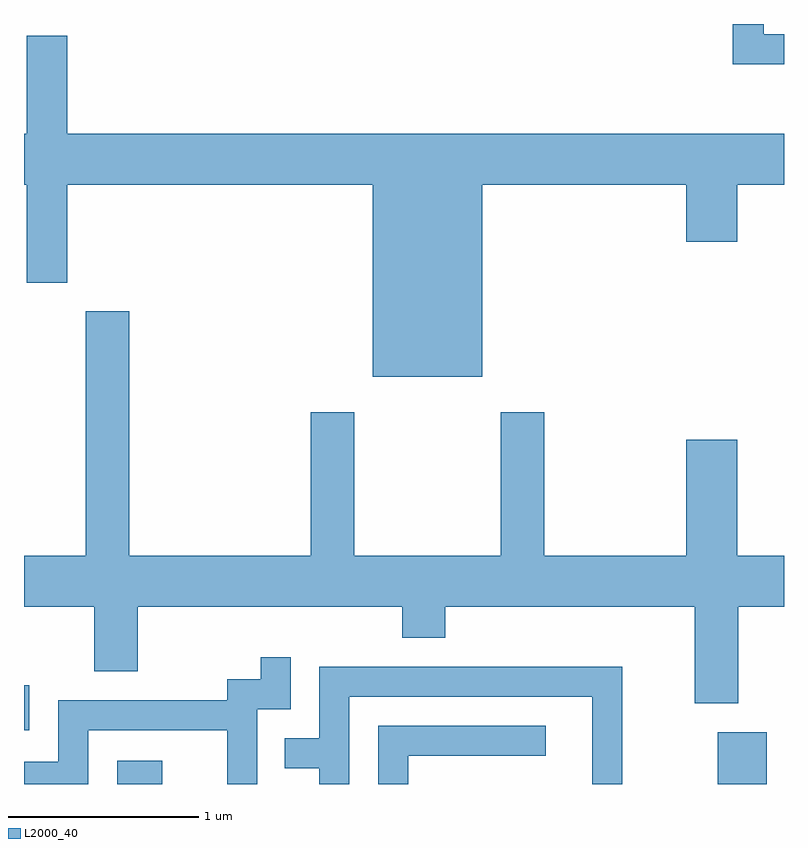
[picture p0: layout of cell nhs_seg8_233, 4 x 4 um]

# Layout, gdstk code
import gdstk
lib = gdstk.Library(unit=1e-6, precision=1e-09)
def R(c, l, rs):  # rectangles x0, y0, x1, y1
    for r in rs: c.add(gdstk.rectangle(r[:2], r[2:], *l))
def P(c, l, *ps):  # polygons
    for p in ps: c.add(gdstk.Polygon(p, *l))
L2000_40 = (2000, 40)

nhs_seg8_233 = lib.new_cell('nhs_seg8_233')
R(nhs_seg8_233, L2000_40, [(192.101,1864.342,192.338,1864.464), (195.261,1864.342,195.519,1864.614), (191.611,1864.626,191.639,1864.863)])
P(nhs_seg8_233, L2000_40, [(195.611,1868.289),(195.504,1868.289),(195.504,1868.342),(195.341,1868.342),(195.341,1868.131),(195.611,1868.131)],
  [(194.024,1867.496),(195.096,1867.496),(195.096,1867.196),(195.364,1867.196),(195.364,1867.496),(195.611,1867.496),(195.611,1867.764),(191.839,1867.764),(191.839,1868.279),(191.626,1868.279),(191.626,1867.764),(191.611,1867.764),(191.611,1867.496),(191.626,1867.496),(191.626,1866.981),(191.839,1866.981),(191.839,1867.496),(193.446,1867.496),(193.446,1866.486),(194.024,1866.486)],
  [(195.369,1865.276),(195.611,1865.276),(195.611,1865.544),(195.364,1865.544),(195.364,1866.154),(195.096,1866.154),(195.096,1865.544),(194.349,1865.544),(194.349,1866.299),(194.121,1866.299),(194.121,1865.544),(193.349,1865.544),(193.349,1866.299),(193.121,1866.299),(193.121,1865.544),(192.164,1865.544),(192.164,1866.829),(191.936,1866.829),(191.936,1865.544),(191.611,1865.544),(191.611,1865.276),(191.981,1865.276),(191.981,1864.936),(192.209,1864.936),(192.209,1865.276),(193.601,1865.276),(193.601,1865.111),(193.829,1865.111),(193.829,1865.276),(195.141,1865.276),(195.141,1864.766),(195.369,1864.766)],
  [(191.949,1864.626),(192.681,1864.626),(192.681,1864.342),(192.839,1864.342),(192.839,1864.736),(193.014,1864.736),(193.014,1865.008),(192.856,1865.008),(192.856,1864.894),(192.681,1864.894),(192.681,1864.784),(191.791,1864.784),(191.791,1864.459),(191.611,1864.459),(191.611,1864.342),(191.949,1864.342)],
  [(193.324,1864.801),(194.601,1864.801),(194.601,1864.342),(194.759,1864.342),(194.759,1864.959),(193.166,1864.959),(193.166,1864.584),(192.983,1864.584),(192.983,1864.426),(193.166,1864.426),(193.166,1864.342),(193.324,1864.342)],
  [(193.634,1864.491),(194.358,1864.491),(194.358,1864.649),(193.476,1864.649),(193.476,1864.342),(193.634,1864.342)])

lib.write_gds('nhs_seg8_233.gds')
